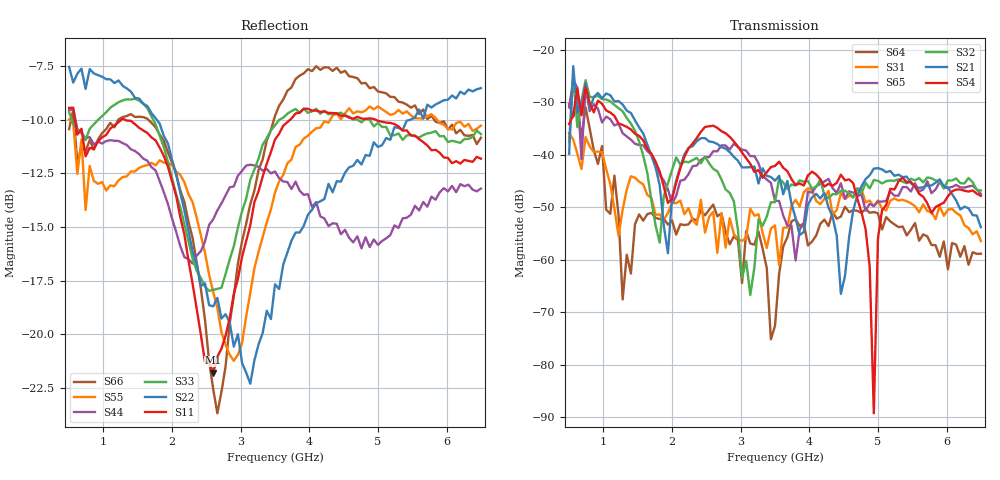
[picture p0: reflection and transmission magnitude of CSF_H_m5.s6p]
!Keysight Technologies,M9804A,MY58100912,A.14.10.03
!Date: Thursday, April 27, 2023 10:28:33
!Correction: S11(C  6-Port  )
!S12(C  6-Port  )
!S13(C  6-Port  )
!S14(C  6-Port  )
!S15(C  6-Port  )
!S16(C  6-Port  )
!S21(C  6-Port  )
!S22(C  6-Port  )
!S23(C  6-Port  )
!S24(C  6-Port  )
!S25(C  6-Port  )
!S26(C  6-Port  )
!S31(C  6-Port  )
!S32(C  6-Port  )
!S33(C  6-Port  )
!S34(C  6-Port  )
!S35(C  6-Port  )
!S36(C  6-Port  )
!S41(C  6-Port  )
!S42(C  6-Port  )
!S43(C  6-Port  )
!S44(C  6-Port  )
!S45(C  6-Port  )
!S46(C  6-Port  )
!S51(C  6-Port  )
!S52(C  6-Port  )
!S53(C  6-Port  )
!S54(C  6-Port  )
!S55(C  6-Port  )
!S56(C  6-Port  )
!S61(C  6-Port  )
!S62(C  6-Port  )
!S63(C  6-Port  )
!S64(C  6-Port  )
!S65(C  6-Port  )
!S66(C  6-Port  )
!S6P File: Measurement: :
# Hz S  RI  R 50
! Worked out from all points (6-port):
!   101 points, 500 MHz to 6.5 GHz, reference 50 ohm
!   strongest paths, dB at 500 MHz, 2 GHz, 3.5 GHz, 5 GHz, 6.5 GHz:
!     S54: -34.2, -48.4, -42.1, -55.9, -47.8
!     S21: -39.8, -48.1, -44.9, -42.5, -53.8
!     S32: -37.6, -42.9, -49.0, -45.0, -46.8
!     S65: -31.0, -49.3, -48.8, -48.9, -47.5
!     S31: -35.9, -49.1, -53.5, -48.7, -56.4
!     S64: -30.4, -52.5, -72.6, -51.1, -58.9
!   lowest |S11| = -21.8 dB at 2.6 GHz (marker M1), VSWR 1.18, Z = 42.7 + j1.9 ohm
!   |S11| at or under -10 dB: 586.7 MHz to 1.263 GHz (675.9 MHz wide, 73.1 % of centre); 1.312 GHz to 3.72 GHz (2.407 GHz wide, 95.7 % of centre); 4.965 GHz to end of sweep
